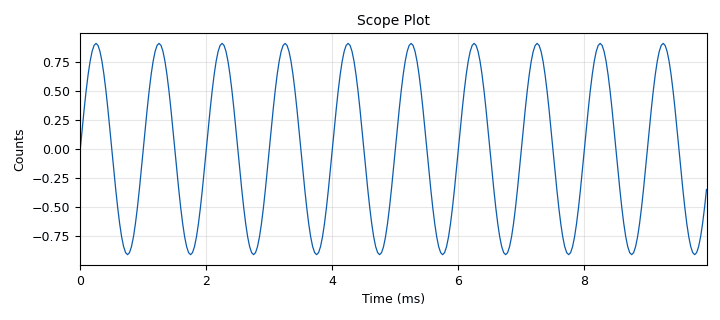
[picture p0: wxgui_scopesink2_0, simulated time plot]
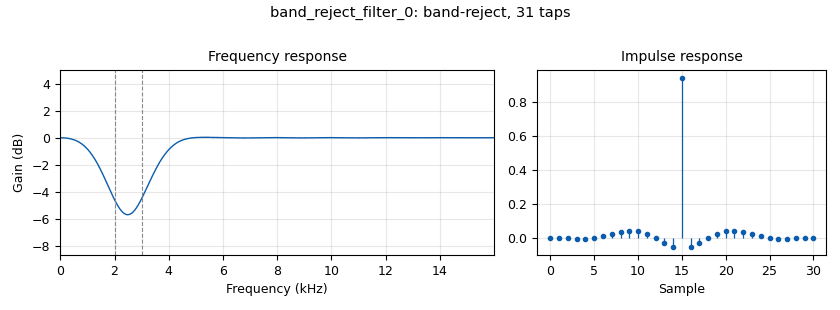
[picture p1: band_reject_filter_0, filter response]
<?xml version='1.0' encoding='utf-8'?>
<flow_graph>
<block>
<key>options</key>
<param><key>id</key><value>top_block</value></param>
<param><key>generate_options</key><value>wx_gui</value></param>
<param><key>category</key><value>Custom</value></param>
</block>
<block>
<key>variable</key>
<param><key>id</key><value>samp_rate</value></param>
<param><key>value</key><value>32000</value></param>
</block>
<block>
<key>variable_slider</key>
<param><key>id</key><value>f</value></param>
<param><key>label</key><value>Frequency</value></param>
<param><key>value</key><value>1000</value></param>
<param><key>min</key><value>100</value></param>
<param><key>max</key><value>10000</value></param>
<param><key>num_steps</key><value>100</value></param>
<param><key>style</key><value>wx.SL_HORIZONTAL</value></param>
<param><key>converver</key><value>float_converter</value></param>
</block>
<block>
<key>band_reject_filter</key>
<param><key>id</key><value>band_reject_filter_0</value></param>
<param><key>type</key><value>interp_fir_filter_fff</value></param>
<param><key>interp</key><value>1</value></param>
<param><key>gain</key><value>1</value></param>
<param><key>samp_rate</key><value>samp_rate</value></param>
<param><key>low_cutoff_freq</key><value>2000</value></param>
<param><key>high_cutoff_freq</key><value>3000</value></param>
<param><key>width</key><value>2500</value></param>
<param><key>win</key><value>firdes.WIN_HAMMING</value></param>
</block>
<block>
<key>analog_sig_source_x</key>
<param><key>id</key><value>analog_sig_source_x_0</value></param>
<param><key>type</key><value>float</value></param>
<param><key>samp_rate</key><value>samp_rate</value></param>
<param><key>waveform</key><value>analog.GR_COS_WAVE</value></param>
<param><key>freq</key><value>f</value></param>
<param><key>amp</key><value>1</value></param>
<param><key>offset</key><value>0</value></param>
</block>
<block>
<key>wxgui_scopesink2</key>
<param><key>id</key><value>wxgui_scopesink2_0</value></param>
<param><key>type</key><value>float</value></param>
<param><key>title</key><value>Scope Plot</value></param>
<param><key>samp_rate</key><value>samp_rate</value></param>
<param><key>v_scale</key><value>0</value></param>
<param><key>v_offset</key><value>0</value></param>
<param><key>t_scale</key><value>0</value></param>
<param><key>ac_couple</key><value>False</value></param>
<param><key>xy_mode</key><value>False</value></param>
<param><key>num_inputs</key><value>1</value></param>
<param><key>trig_mode</key><value>wxgui.TRIG_MODE_AUTO</value></param>
<param><key>y_axis_label</key><value>Counts</value></param>
</block>
<connection><source_block_id>analog_sig_source_x_0</source_block_id><sink_block_id>band_reject_filter_0</sink_block_id><source_key>0</source_key><sink_key>0</sink_key></connection>
<connection><source_block_id>band_reject_filter_0</source_block_id><sink_block_id>wxgui_scopesink2_0</sink_block_id><source_key>0</source_key><sink_key>0</sink_key></connection>
</flow_graph>
